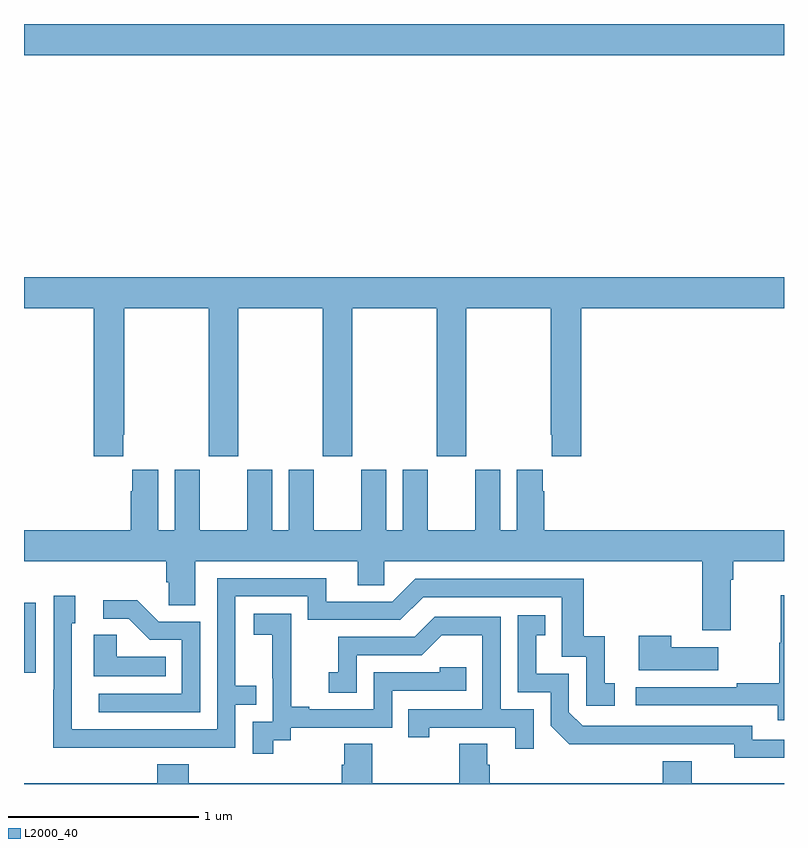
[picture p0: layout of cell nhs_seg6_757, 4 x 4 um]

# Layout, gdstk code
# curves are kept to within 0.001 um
import gdstk
lib = gdstk.Library(unit=1e-6, precision=1e-09)
def R(c, l, rs):  # rectangles x0, y0, x1, y1
    for r in rs: c.add(gdstk.rectangle(r[:2], r[2:], *l))
def P(c, l, *ps):  # polygons
    for p in ps: c.add(gdstk.Polygon(p, *l))
L2000_40 = (2000, 40)

nhs_seg6_757 = lib.new_cell('nhs_seg6_757')
R(nhs_seg6_757, L2000_40, [(159,944.085,159.063,944.454), (159,947.336,163,947.5)])
P(nhs_seg6_757, L2000_40, [(159.523,945.337),(159.528,945.337),(159.528,946.004),(159.973,946.004),(159.973,945.225),(160.128,945.225),(160.128,946.004),(160.573,946.004),(160.573,945.225),(160.728,945.225),(160.728,946.004),(161.173,946.004),(161.173,945.225),(161.328,945.225),(161.328,946.004),(161.773,946.004),(161.773,945.337),(161.777,945.337),(161.777,945.225),(161.933,945.225),(161.933,946.004),(163,946.004),(163,946.168),(159,946.168),(159,946.004),(159.368,946.004),(159.368,945.225),(159.523,945.225)],
  [(162.721,944.576),(162.734,944.576),(162.734,944.672),(163,944.672),(163,944.836),(161.738,944.836),(161.738,945.041),(161.731,945.041),(161.731,945.154),(161.594,945.154),(161.594,944.836),(161.506,944.836),(161.506,945.154),(161.375,945.154),(161.375,944.836),(161.125,944.836),(161.125,945.154),(160.994,945.154),(160.994,944.836),(160.906,944.836),(160.906,945.154),(160.775,945.154),(160.775,944.836),(160.525,944.836),(160.525,945.154),(160.394,945.154),(160.394,944.836),(160.306,944.836),(160.306,945.154),(160.175,945.154),(160.175,944.836),(159.925,944.836),(159.925,945.154),(159.794,945.154),(159.794,944.836),(159.706,944.836),(159.706,945.154),(159.569,945.154),(159.569,945.041),(159.563,945.041),(159.563,944.836),(159,944.836),(159,944.672),(159.749,944.672),(159.749,944.563),(159.762,944.563),(159.762,944.44),(159.901,944.44),(159.901,944.672),(160.757,944.672),(160.757,944.545),(160.896,944.545),(160.896,944.672),(162.569,944.672),(162.569,944.31),(162.721,944.31)],
  [(159.617,943.692),(160.113,943.692),(160.113,943.917),(160.223,943.917),(160.223,944.018),(160.113,944.018),(160.113,944.487),(160.494,944.487),(160.494,944.364),(160.98,944.364),(161.1,944.484),(161.829,944.484),(161.829,944.169),(161.958,944.169),(161.958,943.911),(162.109,943.911),(162.109,944.031),(162.056,944.031),(162.056,944.278),(161.945,944.278),(161.945,944.58),(161.058,944.58),(160.938,944.46),(160.591,944.46),(160.591,944.583),(160.017,944.583),(160.017,943.788),(159.252,943.788),(159.252,944.346),(159.271,944.346),(159.271,944.491),(159.156,944.491),(159.156,943.997),(159.154,943.997),(159.154,943.691)],
  [(163,944.494),(162.982,944.494),(162.982,944.244),(162.975,944.244),(162.975,944.03),(162.751,944.03),(162.751,944.01),(162.219,944.01),(162.219,943.914),(162.967,943.914),(162.967,943.836),(163,943.836)],
  [(159.927,944.355),(159.708,944.355),(159.595,944.468),(159.417,944.468),(159.417,944.37),(159.551,944.37),(159.662,944.259),(159.831,944.259),(159.831,943.974),(159.393,943.974),(159.393,943.878),(159.927,943.878)],
  [(160.312,943.729),(160.404,943.729),(160.404,943.797),(160.938,943.797),(160.938,943.992),(161.327,943.992),(161.327,944.115),(161.187,944.115),(161.187,944.088),(160.842,944.088),(160.842,943.893),(160.501,943.893),(160.501,943.906),(160.406,943.906),(160.406,944.189),(160.407,944.189),(160.407,944.395),(160.209,944.395),(160.209,944.285),(160.307,944.285),(160.307,944.057),(160.308,944.057),(160.308,943.827),(160.203,943.827),(160.203,943.659),(160.312,943.659)],
  [(163,943.734),(162.834,943.734),(162.834,943.806),(161.94,943.806),(161.868,943.878),(161.868,944.079),(161.695,944.079),(161.695,944.283),(161.744,944.283),(161.744,944.389),(161.598,944.389),(161.598,943.983),(161.772,943.983),(161.772,943.806),(161.87,943.709),(162.738,943.71),(162.738,943.637),(163,943.637)],
  [(161.682,943.893),(161.508,943.893),(161.508,944.379),(161.162,944.379),(161.057,944.274),(160.654,944.274),(160.654,944.089),(160.605,944.089),(160.605,943.98),(160.752,943.98),(160.752,944.178),(161.094,944.178),(161.198,944.282),(161.412,944.282),(161.412,943.893),(161.023,943.893),(161.023,943.746),(161.134,943.746),(161.134,943.797),(161.585,943.797),(161.585,943.686),(161.682,943.686)],
  [(159.746,944.17),(159.489,944.17),(159.489,944.285),(159.368,944.285),(159.368,944.066),(159.746,944.066)],
  [(162.655,944.221),(162.407,944.221),(162.407,944.281),(162.236,944.281),(162.236,944.099),(162.655,944.099)],
  [(163,943.504),(162.514,943.504),(162.514,943.621),(162.362,943.621),(162.362,943.504),(161.45,943.504),(161.45,943.602),(161.437,943.602),(161.437,943.712),(161.29,943.712),(161.29,943.504),(160.833,943.504),(160.833,943.712),(160.685,943.712),(160.685,943.602),(160.673,943.602),(160.673,943.504),(159.866,943.504),(159.866,943.603),(159.701,943.603),(159.701,943.504),(159,943.504),(159,943.5),(163,943.5)])

lib.write_gds('nhs_seg6_757.gds')
